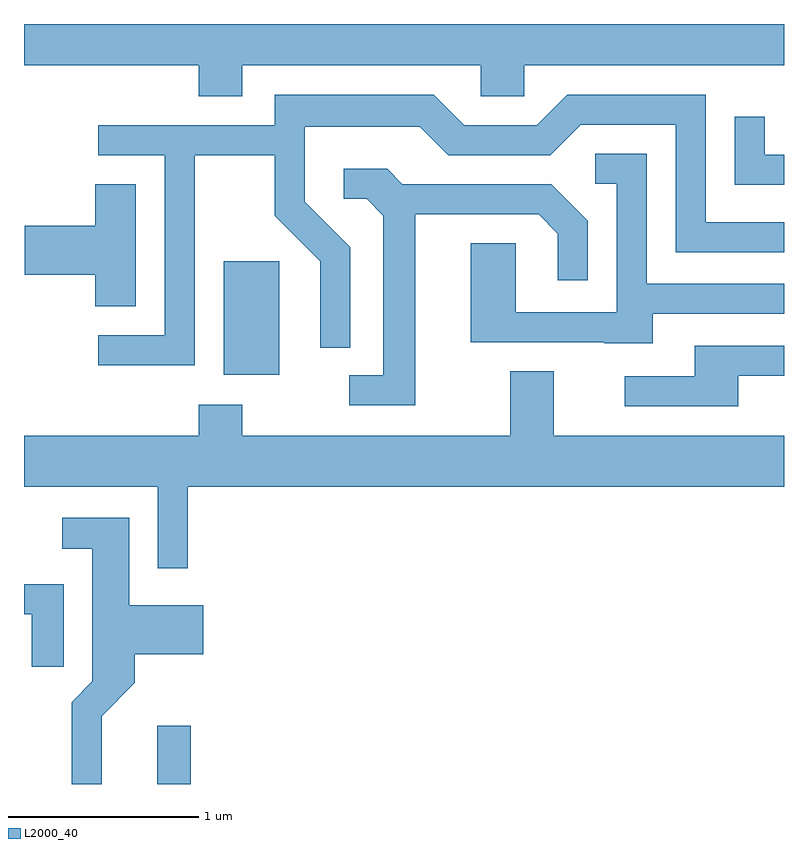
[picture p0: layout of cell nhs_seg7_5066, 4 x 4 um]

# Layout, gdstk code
import gdstk
lib = gdstk.Library(unit=1e-6, precision=1e-09)
def R(c, l, rs):  # rectangles x0, y0, x1, y1
    for r in rs: c.add(gdstk.rectangle(r[:2], r[2:], *l))
def P(c, l, *ps):  # polygons
    for p in ps: c.add(gdstk.Polygon(p, *l))
L2000_40 = (2000, 40)

nhs_seg7_5066 = lib.new_cell('nhs_seg7_5066')
R(nhs_seg7_5066, L2000_40, [(340.311,1768.252,340.489,1768.559), (340.661,1770.406,340.954,1771.004)])
P(nhs_seg7_5066, L2000_40, [(340.759,1772.036),(342.016,1772.036),(342.016,1771.871),(342.244,1771.871),(342.244,1772.036),(343.611,1772.036),(343.611,1772.252),(339.611,1772.252),(339.611,1772.036),(340.531,1772.036),(340.531,1771.871),(340.759,1771.871)],
  [(340.509,1771.561),(340.931,1771.561),(340.931,1771.244),(341.171,1771.004),(341.171,1770.548),(341.329,1770.548),(341.329,1771.077),(341.089,1771.317),(341.089,1771.711),(341.694,1771.711),(341.844,1771.561),(342.382,1771.561),(342.542,1771.721),(343.041,1771.721),(343.041,1771.051),(343.611,1771.051),(343.611,1771.209),(343.199,1771.209),(343.199,1771.879),(342.469,1771.879),(342.309,1771.719),(341.927,1771.719),(341.767,1771.879),(340.931,1771.879),(340.931,1771.719),(340.003,1771.719),(340.003,1771.561),(340.351,1771.561),(340.351,1770.614),(340.003,1770.614),(340.003,1770.456),(340.509,1770.456)],
  [(343.611,1771.564),(343.509,1771.564),(343.509,1771.763),(343.351,1771.763),(343.351,1771.406),(343.611,1771.406)],
  [(342.919,1770.726),(343.611,1770.726),(343.611,1770.884),(342.889,1770.884),(342.889,1771.569),(342.618,1771.569),(342.618,1771.411),(342.731,1771.411),(342.731,1770.734),(342.199,1770.734),(342.199,1771.099),(341.961,1771.099),(341.961,1770.576),(342.665,1770.576),(342.665,1770.571),(342.919,1770.571)],
  [(341.669,1771.251),(342.319,1771.251),(342.421,1771.149),(342.421,1770.903),(342.579,1770.903),(342.579,1771.217),(342.387,1771.409),(341.602,1771.409),(341.522,1771.489),(341.293,1771.489),(341.293,1771.331),(341.414,1771.331),(341.501,1771.244),(341.501,1770.404),(341.323,1770.404),(341.323,1770.246),(341.669,1770.246)],
  [(340.199,1771.409),(339.986,1771.409),(339.986,1771.189),(339.616,1771.189),(339.616,1770.931),(339.986,1770.931),(339.986,1770.766),(340.199,1770.766)],
  [(343.369,1770.401),(343.611,1770.401),(343.611,1770.559),(343.141,1770.559),(343.141,1770.399),(342.773,1770.399),(342.773,1770.241),(343.369,1770.241)],
  [(340.474,1769.816),(343.611,1769.816),(343.611,1770.084),(342.399,1770.084),(342.399,1770.424),(342.171,1770.424),(342.171,1770.084),(340.759,1770.084),(340.759,1770.249),(340.531,1770.249),(340.531,1770.084),(339.611,1770.084),(339.611,1769.816),(340.316,1769.816),(340.316,1769.388),(340.474,1769.388)],
  [(340.019,1768.609),(340.194,1768.784),(340.194,1768.936),(340.554,1768.936),(340.554,1769.194),(340.164,1769.194),(340.164,1769.654),(339.813,1769.654),(339.813,1769.491),(339.971,1769.491),(339.971,1768.792),(339.861,1768.682),(339.861,1768.252),(340.019,1768.252)],
  [(339.819,1769.304),(339.611,1769.304),(339.611,1769.146),(339.651,1769.146),(339.651,1768.868),(339.819,1768.868)])

lib.write_gds('nhs_seg7_5066.gds')
